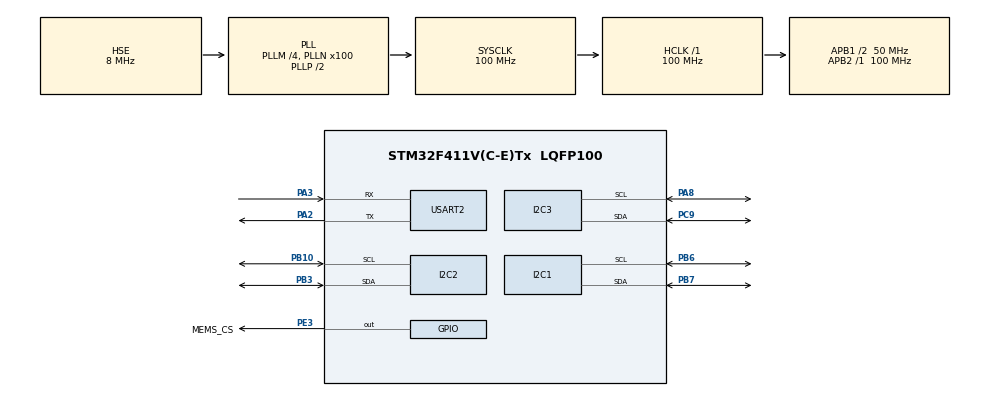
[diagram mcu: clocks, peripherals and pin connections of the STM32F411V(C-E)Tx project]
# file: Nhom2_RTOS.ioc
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FREERTOS.BinarySemaphores01=LCD_Sem,Dynamic,NULL;UART_Sem,Dynamic,NULL
FREERTOS.Mutexes01=LCD_Mutex,Dynamic,NULL
FREERTOS.Tasks01=defaultTask,1,128,Read_time,Default,NULL,Dynamic,NULL,NULL;myTask02,3,128,Read_temperature,Default,NULL,Dynamic,NULL,NULL;myTask03,2,256,LCD_temperature,Default,NULL,Dynamic,NULL,NULL;myTask04,0,256,LCD_time,Default,NULL,Dynamic,NULL,NULL;myTask05,2,256,UART_temperature,Default,NULL,Dynamic,NULL,NULL;myTask06,0,256,UART_time,Default,NULL,Dynamic,NULL,NULL
Mcu.Family=STM32F4
Mcu.Name=STM32F411V(C-E)Tx
Mcu.Package=LQFP100
NVIC.PriorityGroup=NVIC_PRIORITYGROUP_4
NVIC.TIM1_UP_TIM10_IRQn=true\:15\:0\:false\:false\:true\:false\:false\:true\:true
NVIC.TimeBase=TIM1_UP_TIM10_IRQn
NVIC.TimeBaseIP=TIM1
PA13.Mode=Serial_Wire
PA13.Signal=SYS_JTMS-SWDIO
PA14.Mode=Serial_Wire
PA14.Signal=SYS_JTCK-SWCLK
PA2.Mode=Asynchronous
PA2.Signal=USART2_TX
PA3.Mode=Asynchronous
PA3.Signal=USART2_RX
PA8.Mode=I2C
PA8.Signal=I2C3_SCL
PB10.Mode=I2C
PB10.Signal=I2C2_SCL
PB3.Mode=I2C
PB3.Signal=I2C2_SDA
PB6.Mode=I2C
PB6.Signal=I2C1_SCL
PB7.Mode=I2C
PB7.Signal=I2C1_SDA
PC9.Mode=I2C
PC9.Signal=I2C3_SDA
PE3.GPIO_Label=MEMS_CS
PE3.Signal=GPIO_Output
PH0\ -\ OSC_IN.Mode=HSE-External-Oscillator
PH0\ -\ OSC_IN.Signal=RCC_OSC_IN
PH1\ -\ OSC_OUT.Mode=HSE-External-Oscillator
PH1\ -\ OSC_OUT.Signal=RCC_OSC_OUT
ProjectManager.HeapSize=0x200
ProjectManager.StackSize=0x400
ProjectManager.TargetToolchain=MDK-ARM V5.32
RCC.48MHZClocksFreq_Value=50000000
RCC.AHBFreq_Value=100000000
RCC.APB1CLKDivider=RCC_HCLK_DIV2
RCC.APB1Freq_Value=50000000
RCC.APB1TimFreq_Value=100000000
RCC.APB2Freq_Value=100000000
RCC.APB2TimFreq_Value=100000000
RCC.CortexFreq_Value=100000000
RCC.HCLKFreq_Value=100000000
RCC.HSE_VALUE=8000000
RCC.HSI_VALUE=16000000
RCC.LSE_VALUE=32768
RCC.PLLM=4
RCC.PLLN=100
RCC.PLLSourceVirtual=RCC_PLLSOURCE_HSE
RCC.SYSCLKFreq_VALUE=100000000
RCC.SYSCLKSource=RCC_SYSCLKSOURCE_PLLCLK
RCC.VCOOutputFreq_Value=200000000
USART2.VirtualMode=VM_ASYNC
VP_FREERTOS_VS_CMSIS_V1.Mode=CMSIS_V1
VP_SYS_VS_tim1.Mode=TIM1
board=custom

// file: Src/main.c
/* USER CODE BEGIN Header */
/**
  ******************************************************************************
  * @file           : main.c
  * @brief          : Main program body
  ******************************************************************************
  * @attention
  *
  * Copyright (c) 2022 STMicroelectronics.
  * All rights reserved.
  *
  * This software is licensed under terms that can be found in the LICENSE file
  * in the root directory of this software component.
  * If no LICENSE file comes with this software, it is provided AS-IS.
  *
  ******************************************************************************
  */
/* USER CODE END Header */
#include "main.h"
#include "cmsis_os.h"

/* USER CODE BEGIN Includes */
#include "lcd_i2c.h"
#include "ds3231_i2c.h"
#include "stdio.h"
#include "string.h"
#include "stdlib.h"
/* USER CODE END Includes */

I2C_HandleTypeDef hi2c1;
I2C_HandleTypeDef hi2c2;
I2C_HandleTypeDef hi2c3;

UART_HandleTypeDef huart2;

osThreadId defaultTaskHandle;
osThreadId myTask02Handle;
osThreadId myTask03Handle;
osThreadId myTask04Handle;
osThreadId myTask05Handle;
osThreadId myTask06Handle;
osMutexId LCD_MutexHandle;
osSemaphoreId LCD_SemHandle;
osSemaphoreId UART_SemHandle;
/* USER CODE BEGIN PV */
typedef struct Data {
	char DateString[23];
	char TimeString[16];
} DataTypeDef;
/* USER CODE END PV */

void SystemClock_Config(void);
static void MX_GPIO_Init(void);
static void MX_I2C1_Init(void);
static void MX_I2C2_Init(void);
static void MX_I2C3_Init(void);
static void MX_USART2_UART_Init(void);
void Read_time(void const * argument);
void Read_temperature(void const * argument);
void LCD_temperature(void const * argument);
void LCD_time(void const * argument);
void UART_temperature(void const * argument);
void UART_time(void const * argument);

/* USER CODE BEGIN PFP */
static void InitHardware(void);
static void SetTime(char* timeString);
/* USER CODE END PFP */

/* USER CODE BEGIN 0 */
void InitHardware(void)
{
	DS3231_Init(&hi2c2);
	DS3231_EnableAlarm();
	SetTime("22:08:14:01:16:30:20");

	LCD_Init(&hi2c3);
	LCD_EnableBacklight();
}
void SetTime(char* timeString)
{
	DS3231_TimeTypeDef myTime;
	char Time_String[3];

	strncpy(Time_String, timeString, 2);
	myTime.Year = (uint8_t)atoi(Time_String);

	strncpy(Time_String, timeString + 3, 2);
	myTime.Month = (uint8_t)atoi(Time_String);

	strncpy(Time_String, timeString + 6, 2);
	myTime.Date = (uint8_t)atoi(Time_String);

	strncpy(Time_String, timeString + 9, 2);
	myTime.DoW = (uint8_t)atoi(Time_String);

	strncpy(Time_String, timeString + 12, 2);
	myTime.Hour = (uint8_t)atoi(Time_String);

	strncpy(Time_String, timeString + 15, 2);
	myTime.Min = (uint8_t)atoi(Time_String);

	strncpy(Time_String, timeString + 18, 2);
	myTime.Sec = (uint8_t)atoi(Time_String);

	DS3231_SetTime(&myTime);
}

xQueueHandle temp_queue_handler;
xQueueHandle time_queue_handler;
/* USER CODE END 0 */

int main(void)
{

  /* MCU Configuration--------------------------------------------------------*/

  /* Reset of all peripherals, Initializes the Flash interface and the Systick. */
  HAL_Init();

  /* Configure the system clock */
  SystemClock_Config();

  /* Initialize all configured peripherals */
  MX_GPIO_Init();
  MX_I2C1_Init();
  MX_I2C2_Init();
  MX_I2C3_Init();
  MX_USART2_UART_Init();
  /* USER CODE BEGIN 2 */
	InitHardware();
  /* USER CODE END 2 */

  /* Create the mutex(es) */
  /* definition and creation of LCD_Mutex */
  osMutexDef(LCD_Mutex);
  LCD_MutexHandle = osMutexCreate(osMutex(LCD_Mutex));

  /* Create the semaphores(s) */
  /* definition and creation of LCD_Sem */
  osSemaphoreDef(LCD_Sem);
  LCD_SemHandle = osSemaphoreCreate(osSemaphore(LCD_Sem), 1);

  /* definition and creation of UART_Sem */
  osSemaphoreDef(UART_Sem);
  UART_SemHandle = osSemaphoreCreate(osSemaphore(UART_Sem), 1);

  /* USER CODE BEGIN RTOS_QUEUES */
  /* add queues, ... */
	temp_queue_handler = xQueueCreate(5, sizeof(float));
  time_queue_handler = xQueueCreate(5, sizeof(DataTypeDef));
  /* USER CODE END RTOS_QUEUES */

  /* Create the thread(s) */
  /* definition and creation of defaultTask */
  osThreadDef(defaultTask, Read_time, osPriorityAboveNormal, 0, 128);
  defaultTaskHandle = osThreadCreate(osThread(defaultTask), NULL);

  /* definition and creation of myTask02 */
  osThreadDef(myTask02, Read_temperature, osPriorityRealtime, 0, 128);
  myTask02Handle = osThreadCreate(osThread(myTask02), NULL);

  /* definition and creation of myTask03 */
  osThreadDef(myTask03, LCD_temperature, osPriorityHigh, 0, 256);
  myTask03Handle = osThreadCreate(osThread(myTask03), NULL);

  /* definition and creation of myTask04 */
  osThreadDef(myTask04, LCD_time, osPriorityNormal, 0, 256);
  myTask04Handle = osThreadCreate(osThread(myTask04), NULL);

  /* definition and creation of myTask05 */
  osThreadDef(myTask05, UART_temperature, osPriorityHigh, 0, 256);
  myTask05Handle = osThreadCreate(osThread(myTask05), NULL);

  /* definition and creation of myTask06 */
  osThreadDef(myTask06, UART_time, osPriorityNormal, 0, 256);
  myTask06Handle = osThreadCreate(osThread(myTask06), NULL);

  /* Start scheduler */
  osKernelStart();

  /* We should never get here as control is now taken by the scheduler */
  /* Infinite loop */
  while (1)
  {

  }
}

void SystemClock_Config(void)
{
  RCC_OscInitTypeDef RCC_OscInitStruct = {0};
  RCC_ClkInitTypeDef RCC_ClkInitStruct = {0};

  /** Configure the main internal regulator output voltage
  */
  __HAL_RCC_PWR_CLK_ENABLE();
  __HAL_PWR_VOLTAGESCALING_CONFIG(PWR_REGULATOR_VOLTAGE_SCALE1);

  /** Initializes the RCC Oscillators according to the specified parameters
  * in the RCC_OscInitTypeDef structure.
  */
  RCC_OscInitStruct.OscillatorType = RCC_OSCILLATORTYPE_HSE;
  RCC_OscInitStruct.HSEState = RCC_HSE_ON;
  RCC_OscInitStruct.PLL.PLLState = RCC_PLL_ON;
  RCC_OscInitStruct.PLL.PLLSource = RCC_PLLSOURCE_HSE;
  RCC_OscInitStruct.PLL.PLLM = 4;
  RCC_OscInitStruct.PLL.PLLN = 100;
  RCC_OscInitStruct.PLL.PLLP = RCC_PLLP_DIV2;
  RCC_OscInitStruct.PLL.PLLQ = 4;
  if (HAL_RCC_OscConfig(&RCC_OscInitStruct) != HAL_OK)
  {
    Error_Handler();
  }

  /** Initializes the CPU, AHB and APB buses clocks
  */
  RCC_ClkInitStruct.ClockType = RCC_CLOCKTYPE_HCLK|RCC_CLOCKTYPE_SYSCLK
                              |RCC_CLOCKTYPE_PCLK1|RCC_CLOCKTYPE_PCLK2;
  RCC_ClkInitStruct.SYSCLKSource = RCC_SYSCLKSOURCE_PLLCLK;
  RCC_ClkInitStruct.AHBCLKDivider = RCC_SYSCLK_DIV1;
  RCC_ClkInitStruct.APB1CLKDivider = RCC_HCLK_DIV2;
  RCC_ClkInitStruct.APB2CLKDivider = RCC_HCLK_DIV1;

  if (HAL_RCC_ClockConfig(&RCC_ClkInitStruct, FLASH_LATENCY_3) != HAL_OK)
  {
    Error_Handler();
  }
}

static void MX_I2C1_Init(void)
{

  hi2c1.Instance = I2C1;
  hi2c1.Init.ClockSpeed = 100000;
  hi2c1.Init.DutyCycle = I2C_DUTYCYCLE_2;
  hi2c1.Init.OwnAddress1 = 0;
  hi2c1.Init.AddressingMode = I2C_ADDRESSINGMODE_7BIT;
  hi2c1.Init.DualAddressMode = I2C_DUALADDRESS_DISABLE;
  hi2c1.Init.OwnAddress2 = 0;
  hi2c1.Init.GeneralCallMode = I2C_GENERALCALL_DISABLE;
  hi2c1.Init.NoStretchMode = I2C_NOSTRETCH_DISABLE;
  if (HAL_I2C_Init(&hi2c1) != HAL_OK)
  {
    Error_Handler();
  }

}

static void MX_I2C2_Init(void)
{

  hi2c2.Instance = I2C2;
  hi2c2.Init.ClockSpeed = 100000;
  hi2c2.Init.DutyCycle = I2C_DUTYCYCLE_2;
  hi2c2.Init.OwnAddress1 = 0;
  hi2c2.Init.AddressingMode = I2C_ADDRESSINGMODE_7BIT;
  hi2c2.Init.DualAddressMode = I2C_DUALADDRESS_DISABLE;
  hi2c2.Init.OwnAddress2 = 0;
  hi2c2.Init.GeneralCallMode = I2C_GENERALCALL_DISABLE;
  hi2c2.Init.NoStretchMode = I2C_NOSTRETCH_DISABLE;
  if (HAL_I2C_Init(&hi2c2) != HAL_OK)
  {
    Error_Handler();
  }

}

static void MX_I2C3_Init(void)
{

  hi2c3.Instance = I2C3;
  hi2c3.Init.ClockSpeed = 100000;
  hi2c3.Init.DutyCycle = I2C_DUTYCYCLE_2;
  hi2c3.Init.OwnAddress1 = 0;
  hi2c3.Init.AddressingMode = I2C_ADDRESSINGMODE_7BIT;
  hi2c3.Init.DualAddressMode = I2C_DUALADDRESS_DISABLE;
  hi2c3.Init.OwnAddress2 = 0;
  hi2c3.Init.GeneralCallMode = I2C_GENERALCALL_DISABLE;
  hi2c3.Init.NoStretchMode = I2C_NOSTRETCH_DISABLE;
  if (HAL_I2C_Init(&hi2c3) != HAL_OK)
  {
    Error_Handler();
  }

}

static void MX_USART2_UART_Init(void)
{

  huart2.Instance = USART2;
  huart2.Init.BaudRate = 115200;
  huart2.Init.WordLength = UART_WORDLENGTH_8B;
  huart2.Init.StopBits = UART_STOPBITS_1;
  huart2.Init.Parity = UART_PARITY_NONE;
  huart2.Init.Mode = UART_MODE_TX_RX;
  huart2.Init.HwFlowCtl = UART_HWCONTROL_NONE;
  huart2.Init.OverSampling = UART_OVERSAMPLING_16;
  if (HAL_UART_Init(&huart2) != HAL_OK)
  {
    Error_Handler();
  }

}

static void MX_GPIO_Init(void)
{
  GPIO_InitTypeDef GPIO_InitStruct = {0};

  /* GPIO Ports Clock Enable */
  __HAL_RCC_GPIOE_CLK_ENABLE();
  __HAL_RCC_GPIOH_CLK_ENABLE();
  __HAL_RCC_GPIOA_CLK_ENABLE();
  __HAL_RCC_GPIOB_CLK_ENABLE();
  __HAL_RCC_GPIOC_CLK_ENABLE();

  /*Configure GPIO pin Output Level */
  HAL_GPIO_WritePin(MEMS_CS_GPIO_Port, MEMS_CS_Pin, GPIO_PIN_RESET);

  /*Configure GPIO pin : MEMS_CS_Pin */
  GPIO_InitStruct.Pin = MEMS_CS_Pin;
  GPIO_InitStruct.Mode = GPIO_MODE_OUTPUT_PP;
  GPIO_InitStruct.Pull = GPIO_NOPULL;
  GPIO_InitStruct.Speed = GPIO_SPEED_FREQ_LOW;
  HAL_GPIO_Init(MEMS_CS_GPIO_Port, &GPIO_InitStruct);

}

void Read_time(void const * argument)
{
  /* USER CODE BEGIN 5 */
  /* Infinite loop */
  for(;;)
  {
		DS3231_TimeTypeDef	getDS3231Time;
		DataTypeDef Data1;
		DataTypeDef *DataToSend;

		if (DS3231_GetTime(&getDS3231Time) != HAL_OK)
		{
			HAL_UART_Transmit(&huart2, (uint8_t*)"Get Time error !\n", 18, HAL_MAX_DELAY);
		}

		if (getDS3231Time.DoW == 1)
		{
			sprintf(Data1.DateString, "SUN/%02d/%02d/20%02d\n", getDS3231Time.Date, getDS3231Time.Month, getDS3231Time.Year);
		}
		else if (getDS3231Time.DoW == 2)
		{
			sprintf(Data1.DateString, "MON/%02d/%02d/20%02d\n", getDS3231Time.Date, getDS3231Time.Month, getDS3231Time.Year);
		}
		else if (getDS3231Time.DoW == 3)
		{
			sprintf(Data1.DateString, "TUE/%02d/%02d/20%02d\n", getDS3231Time.Date, getDS3231Time.Month, getDS3231Time.Year);
		}
		else if (getDS3231Time.DoW == 4)
		{
			sprintf(Data1.DateString, "WED/%02d/%02d/20%02d\n", getDS3231Time.Date, getDS3231Time.Month, getDS3231Time.Year);
		}
		else if (getDS3231Time.DoW == 5)
		{
			sprintf(Data1.DateString, "THU/%02d/%02d/20%02d\n", getDS3231Time.Date, getDS3231Time.Month, getDS3231Time.Year);
		}
		else if (getDS3231Time.DoW == 6)
		{
			sprintf(Data1.DateString, "FRI/%02d/%02d/20%02d\n", getDS3231Time.Date, getDS3231Time.Month, getDS3231Time.Year);
		}
		else if (getDS3231Time.DoW == 7)
		{
			sprintf(Data1.DateString, "SAT/%02d/%02d/20%02d\n", getDS3231Time.Date, getDS3231Time.Month, getDS3231Time.Year);
		}
		sprintf(Data1.TimeString, "%02d:%02d:%02d", getDS3231Time.Hour, getDS3231Time.Min, getDS3231Time.Sec);

		DataToSend = pvPortMalloc(sizeof(DataTypeDef));

		strcpy(DataToSend->DateString, Data1.DateString);
		strcpy(DataToSend->TimeString, Data1.TimeString);

		xQueueSend(time_queue_handler, &DataToSend, 100);
		osDelay(10);
  }
  /* USER CODE END 5 */
}

void Read_temperature(void const * argument)
{
  /* USER CODE BEGIN Read_temperature */
  /* Infinite loop */
  for(;;)
  {
		uint8_t dataRecv[2];
		uint16_t i2cdata;
		float tempMLXobj1;
		float value = 0.0;

		HAL_I2C_Mem_Read(&hi2c1, 0x5A<<1, 0x07, 1, dataRecv, 3, 1000);
		i2cdata = (dataRecv[1]<<8 | dataRecv[0]);
		tempMLXobj1 = i2cdata * 0.02 - 273.15;

		if(tempMLXobj1 < 100)
		{
			value = tempMLXobj1;
		}

		xQueueSend(temp_queue_handler, &value, 100);
    osDelay(1);
  }
  /* USER CODE END Read_temperature */
}

void LCD_temperature(void const * argument)
{
  /* USER CODE BEGIN LCD_temperature */
  /* Infinite loop */
  for(;;)
  {
	  char tempToLCD[20];
	  float recv_temperature = 0;

		xQueueReceive(temp_queue_handler, &recv_temperature, 1000);

		sprintf(tempToLCD, "TEMP: %0.2f", recv_temperature);

		osMutexWait(LCD_MutexHandle, osWaitForever);

		LCD_SendStringAt(tempToLCD, 0, 0);
		HAL_Delay(1000);
		LCD_SetFunction(0x01);
		HAL_Delay(100);

		osMutexRelease(LCD_MutexHandle);

	  osDelay(500);
  }
  /* USER CODE END LCD_temperature */
}

void LCD_time(void const * argument)
{
  /* USER CODE BEGIN LCD_time */
  /* Infinite loop */
  for(;;)
  {
	  DataTypeDef* Data2;

	  xQueueReceive(time_queue_handler, &Data2, 100);

	  char dataD1[30];
	  char dataT1[30];
		char str1[10] = "DATE:";
		char str2[10] = "TIME:";

	  sprintf(dataD1, "%s %s\n", str1, Data2->DateString);
	  sprintf(dataT1, "%s %s\n", str2, Data2->TimeString);

	  vPortFree(Data2);
		osMutexWait(LCD_MutexHandle, osWaitForever);

		LCD_SendStringAt(dataD1, 0, 0);
		LCD_SendStringAt(dataT1, 0, 1);
		HAL_Delay(800);
		for(int i=0; i<strlen(dataD1); i++)
		{
			LCD_SetFunction(0x18);
			HAL_Delay(600);
		}
		LCD_SetFunction(0x01);
		HAL_Delay(100);

	  osMutexRelease(LCD_MutexHandle);
	  osDelay(500);
  }
  /* USER CODE END LCD_time */
}

void UART_temperature(void const * argument)
{
  /* USER CODE BEGIN UART_temperature */
  /* Infinite loop */
  for(;;)
  {
		float recv_temperature = 0;

		xQueueReceive(temp_queue_handler, &recv_temperature, 1000);

		char str[20]={0};
		sprintf(str, "\nTEMP: %0.2f\n", recv_temperature);

		osSemaphoreWait(UART_SemHandle, osWaitForever);

		HAL_UART_Transmit(&huart2,(uint8_t*) &str, sizeof(str), 100);

		osSemaphoreRelease(UART_SemHandle);
    osDelay(1000);
  }
  /* USER CODE END UART_temperature */
}

void UART_time(void const * argument)
{
  /* USER CODE BEGIN UART_time */
  /* Infinite loop */
  for(;;)
  {
	  DataTypeDef* Data3;

	  xQueueReceive(time_queue_handler, &Data3, 1000);

	  char dataD2[20]={0};
	  char dataT2[20]={0};
		char str1[10] = "Date:";
		char str2[10] = "\nTime:";

	  sprintf(dataD2, "%s %s\n", str1, Data3->DateString);
	  sprintf(dataT2, "%s %s\n", str2, Data3->TimeString);

	  vPortFree(Data3);

	  osSemaphoreWait(UART_SemHandle, osWaitForever);

	  HAL_UART_Transmit(&huart2,(uint8_t*) &dataD2, sizeof(dataD2), 100);
	  HAL_UART_Transmit(&huart2,(uint8_t*) &dataT2, sizeof(dataT2), 100);

	  osSemaphoreRelease(UART_SemHandle);
	  osDelay(1000);
  }
  /* USER CODE END UART_time */
}

void HAL_TIM_PeriodElapsedCallback(TIM_HandleTypeDef *htim)
{
  if (htim->Instance == TIM1) {
    HAL_IncTick();
  }
}

void Error_Handler(void)
{
  __disable_irq();
  while (1)
  {
  }
}
